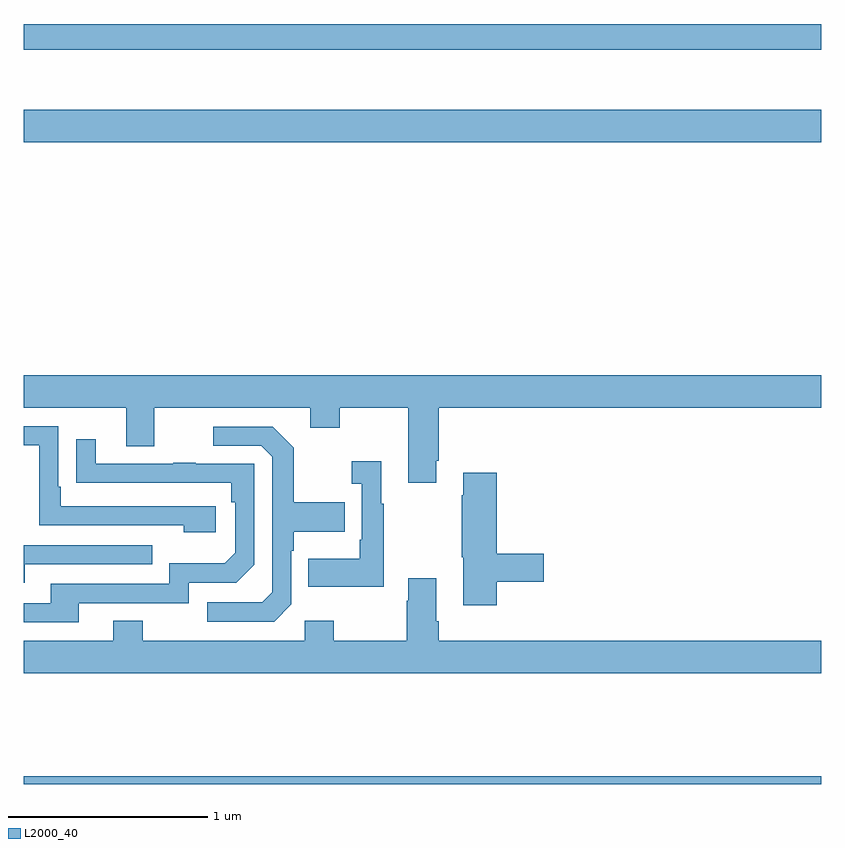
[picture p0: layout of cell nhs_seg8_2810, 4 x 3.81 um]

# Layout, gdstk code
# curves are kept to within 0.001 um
import gdstk
lib = gdstk.Library(unit=1e-6, precision=1e-09)
def R(c, l, rs):  # rectangles x0, y0, x1, y1
    for r in rs: c.add(gdstk.rectangle(r[:2], r[2:], *l))
def P(c, l, *ps):  # polygons
    for p in ps: c.add(gdstk.Polygon(p, *l))
L2000_40 = (2000, 40)

nhs_seg8_2810 = lib.new_cell('nhs_seg8_2810')
R(nhs_seg8_2810, L2000_40, [(287,1159.9,291,1159.94), (287,1163.12,291,1163.284), (287,1163.586,291,1163.714)])
P(nhs_seg8_2810, L2000_40, [(289.069,1161.523),(289.082,1161.523),(289.082,1161.788),(291,1161.788),(291,1161.952),(287,1161.952),(287,1161.788),(287.513,1161.788),(287.513,1161.594),(287.653,1161.594),(287.653,1161.788),(288.437,1161.788),(288.437,1161.689),(288.585,1161.689),(288.585,1161.788),(288.929,1161.788),(288.929,1161.411),(289.069,1161.411)],
  [(287.962,1161.294),(287.185,1161.294),(287.185,1161.391),(287.172,1161.391),(287.172,1161.696),(287,1161.696),(287,1161.6),(287.076,1161.6),(287.076,1161.198),(287.801,1161.198),(287.801,1161.164),(287.962,1161.164)],
  [(288.342,1160.802),(288.342,1161.071),(288.355,1161.071),(288.355,1161.167),(288.611,1161.167),(288.611,1161.315),(288.355,1161.315),(288.355,1161.587),(288.249,1161.693),(287.949,1161.693),(287.949,1161.597),(288.192,1161.597),(288.246,1161.543),(288.246,1160.862),(288.195,1160.811),(287.919,1160.811),(287.919,1160.715),(288.255,1160.715)],
  [(287.275,1160.808),(287.826,1160.808),(287.826,1160.91),(288.066,1160.91),(288.156,1161),(288.156,1161.507),(287.861,1161.507),(287.861,1161.512),(287.749,1161.512),(287.749,1161.507),(287.359,1161.507),(287.359,1161.631),(287.263,1161.631),(287.263,1161.412),(288.04,1161.411),(288.04,1161.314),(288.06,1161.314),(288.06,1161.06),(288.007,1161.007),(287.73,1161.007),(287.73,1160.904),(287.135,1160.904),(287.135,1160.808),(287,1160.808),(287,1160.712),(287.275,1160.712)],
  [(288.805,1161.307),(288.793,1161.307),(288.793,1161.52),(288.645,1161.52),(288.645,1161.407),(288.696,1161.407),(288.696,1161.127),(288.684,1161.127),(288.684,1161.031),(288.427,1161.031),(288.427,1160.891),(288.805,1160.891)],
  [(289.373,1160.914),(289.609,1160.914),(289.609,1161.056),(289.373,1161.056),(289.373,1161.463),(289.205,1161.463),(289.205,1161.35),(289.198,1161.35),(289.198,1161.039),(289.205,1161.039),(289.205,1160.796),(289.373,1160.796)],
  [(287.005,1161.003),(287.645,1161.003),(287.645,1161.099),(287,1161.099),(287,1160.909),(287.005,1160.909)],
  [(291,1160.62),(289.082,1160.62),(289.082,1160.716),(289.069,1160.716),(289.069,1160.932),(288.929,1160.932),(288.929,1160.819),(288.922,1160.819),(288.922,1160.62),(288.555,1160.62),(288.555,1160.719),(288.408,1160.719),(288.408,1160.62),(287.595,1160.62),(287.595,1160.719),(287.447,1160.719),(287.447,1160.62),(287,1160.62),(287,1160.456),(291,1160.456)])

lib.write_gds('nhs_seg8_2810.gds')
